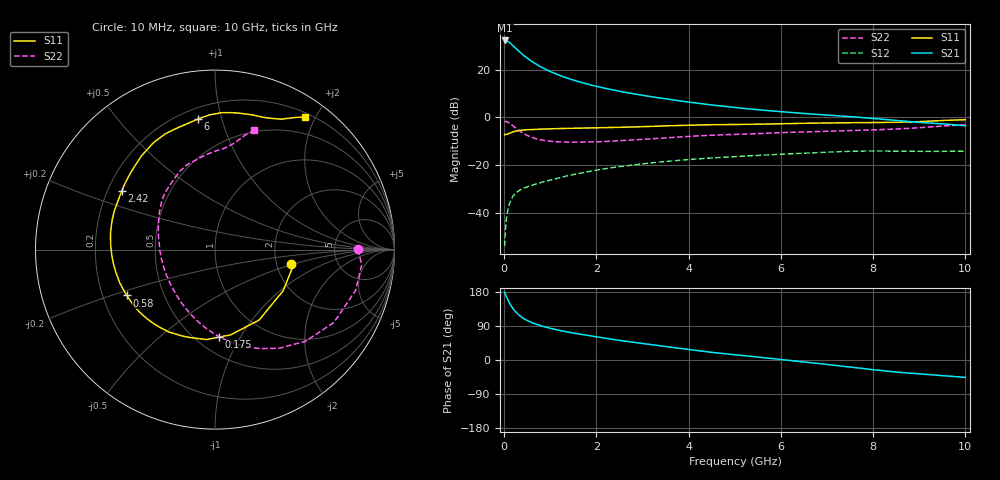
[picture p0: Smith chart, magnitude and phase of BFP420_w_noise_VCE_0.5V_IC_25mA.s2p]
! Infineon Technologies  Discrete & RF Semiconductors
! BFP420
! VCE =  0.5 V,  IC =  25 mA
! Common Emitter S-Parameters:  Jan 2016
# GHz  S  MA  R  50
!  f  S11  S21  S12  S22
! GHz  MAG  ANG  MAG  ANG  MAG  ANG  MAG  ANG
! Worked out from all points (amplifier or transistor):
!   233 points, 10 MHz to 10 GHz, reference 50 ohm
!   highest |S21| = 32.2 dB at 20 MHz (marker M1)
!   |S21| within 3 dB of that: start of sweep to 236.8 MHz
!   unconditionally stable (mu >= 1): start of sweep to 19.5 MHz; 1.35 GHz to end of sweep
!   at 200 MHz: K = 0.34, MSG = 31.4 dB, |S12| = -32.8 dB
!   at 1.74 GHz: K = 1.08, MAG = 16.9 dB, |S12| = -23.0 dB
!   at 10 GHz: K = 1.04, MAG = 4.1 dB, |S12| = -14.2 dB
!   lowest NFmin = 1.38 dB at 900 MHz
!   S11 on the Smith chart (normalised r, x): 10 MHz: 2.40, -0.47; 175 MHz: 0.63, -0.81; 580 MHz: 0.30, -0.22; 2.42 GHz: 0.26, +0.27; 6 GHz: 0.27, +0.84; 10 GHz: 0.26, +1.86
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0.01  0.43 -10.8  38.16 178.7  0.002 96.7  0.7964 0.1
0.02  0.4426 -13.4  40.8 175.1  0.0032 90.7  0.8219 -5.9
0.05  0.4436 -31.1  40.3 166.7  0.0076 80.3  0.8159 -16.2
0.1  0.463 -57.9  38.16 153.9  0.0138 71.8  0.7769 -31.5
0.15  0.4831 -79.6  34.61 142.9  0.019 64.2  0.7174 -45.4
0.175  0.4885 -87.7  32.87 138.7  0.0209 61.1  0.6829 -50.9
0.2  0.5033 -95.5  31.32 134.1  0.0229 58.6  0.6554 -57.0
0.26  0.515 -110.9  27.48 125.6  0.0264 54.1  0.5881 -68.6
0.34  0.5318 -126.0  23.29 116.7  0.03 50.2  0.5142 -81.8
0.45  0.546 -140.6  18.9 107.5  0.0336 47.4  0.4422 -96.3
0.58  0.5535 -152.5  15.3 99.9  0.0373 46.3  0.3873 -109.8
0.8  0.5661 -166.5  11.33 90.1  0.0432 46.2  0.337 -128.1
1  0.5749 -175.5  9.113 83.6  0.0487 46.6  0.3157 -140.9
1.3  0.5849 174.4  6.988 75.7  0.0574 46.7  0.3032 -155.9
1.68  0.5957 164.2  5.361 67.4  0.0686 45.8  0.3028 -170.3
2.42  0.6136 147.8  3.641 53.4  0.0905 41.0  0.3205 168.6
3.4  0.6576 129.7  2.515 37.2  0.1166 32.4  0.3672 147.7
5.1  0.7092 107.2  1.568 12.7  0.1522 16.3  0.4416 124.0
6  0.7338 97.4  1.314 1.4  0.1689 8.3  0.4785 114.2
6.8  0.758 89.2  1.15 -9.1  0.1831 0.2  0.5043 104.7
8.4  0.7843 70.2  0.877 -30.6  0.1957 -18.1  0.5633 85.6
10  0.8924 55.8  0.665 -45.9  0.1948 -29.7  0.6985 71.9
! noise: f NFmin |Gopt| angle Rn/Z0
0.9  1.38  0.22  -154  0.13
1.8  1.65  0.29  -143  0.13
2.4  1.81  0.26  -138  0.17
3  1.83  0.34  -129  0.18
4  1.97  0.45  -112  0.27
5  2.4  0.49  -95  0.44
6  2.85  0.54  -84  0.65
